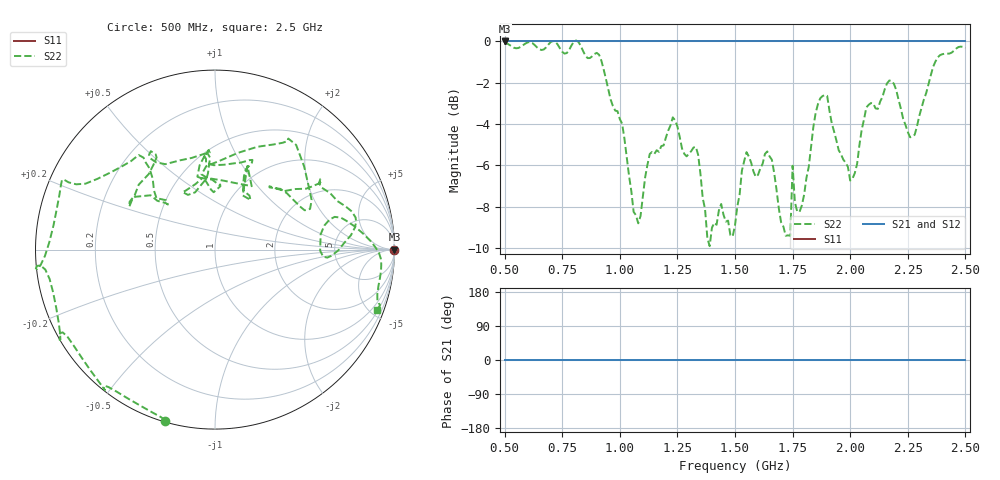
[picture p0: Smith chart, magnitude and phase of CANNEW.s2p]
!Keysight Technologies N9923A: A.08.18
!Date: Tuesday, 09 January 2018 16:49:41
!Timezone: (GMT-05:00) Eastern Time (US & Canada)
!Model: N9923A
!Serial: MY52412517
!GPS Latitude:
!GPS Longitude:
!GPS TimeStamp: 0001-01-01 00:00:00Z
!GPS Seconds Since Last Read: 0
!CHECKSUM:1349432980
!Correction: S11()S21()S12()S22(ON U)
!S2P File: Measurements:S11,S21,S12,S22:
# Hz S DB R 50
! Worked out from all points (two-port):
!   201 points, 500 MHz to 2.5 GHz, reference 50 ohm
!   highest |S21| = 0.00 dB at 500 MHz (marker M1); lowest = 0.0 dB at 500 MHz (marker M2)
!   |S21| within 3 dB of the highest: start of sweep to end of sweep
!   lowest |S11| = 0.0 dB at 500 MHz (marker M3)
!   |S11| at or under -10 dB: nowhere
!   |S22| runs from -9.9 to 0.0 dB; largest |S21 - S12| = 0
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5e8  0.00 0.0  0.00 0.0  0.00 0.0  -0.06 -106.3
6.8e8  0.00 0.0  0.00 0.0  0.00 0.0  -0.30 -151.5
8.4e8  0.00 0.0  0.00 0.0  0.00 0.0  -0.46 -177.9
8.9e8  0.00 0.0  0.00 0.0  0.00 0.0  -0.62 157.2
9.9e8  0.00 0.0  0.00 0.0  0.00 0.0  -3.38 128.9
1.08e9  0.00 0.0  0.00 0.0  0.00 0.0  -8.80 136.3
1.17e9  0.00 0.0  0.00 0.0  0.00 0.0  -5.35 145.9
1.31e9  0.00 0.0  0.00 0.0  0.00 0.0  -5.31 93.1
1.39e9  0.00 0.0  0.00 0.0  0.00 0.0  -9.90 91.3
1.5e9  0.00 0.0  0.00 0.0  0.00 0.0  -8.90 104.0
1.64e9  0.00 0.0  0.00 0.0  0.00 0.0  -5.33 67.4
1.76e9  0.00 0.0  0.00 0.0  0.00 0.0  -7.78 60.0
1.8e9  0.00 0.0  0.00 0.0  0.00 0.0  -7.42 100.2
1.84e9  0.00 0.0  0.00 0.0  0.00 0.0  -4.15 67.6
1.89e9  0.00 0.0  0.00 0.0  0.00 0.0  -2.60 56.6
1.94e9  0.00 0.0  0.00 0.0  0.00 0.0  -4.79 23.2
2.01e9  0.00 0.0  0.00 0.0  0.00 0.0  -6.64 49.3
2.17e9  0.00 0.0  0.00 0.0  0.00 0.0  -1.90 12.9
2.24e9  0.00 0.0  0.00 0.0  0.00 0.0  -4.05 -4.1
2.28e9  0.00 0.0  0.00 0.0  0.00 0.0  -4.52 8.2
2.38e9  0.00 0.0  0.00 0.0  0.00 0.0  -0.79 -1.1
2.5e9  0.00 0.0  0.00 0.0  0.00 0.0  -0.33 -20.4
